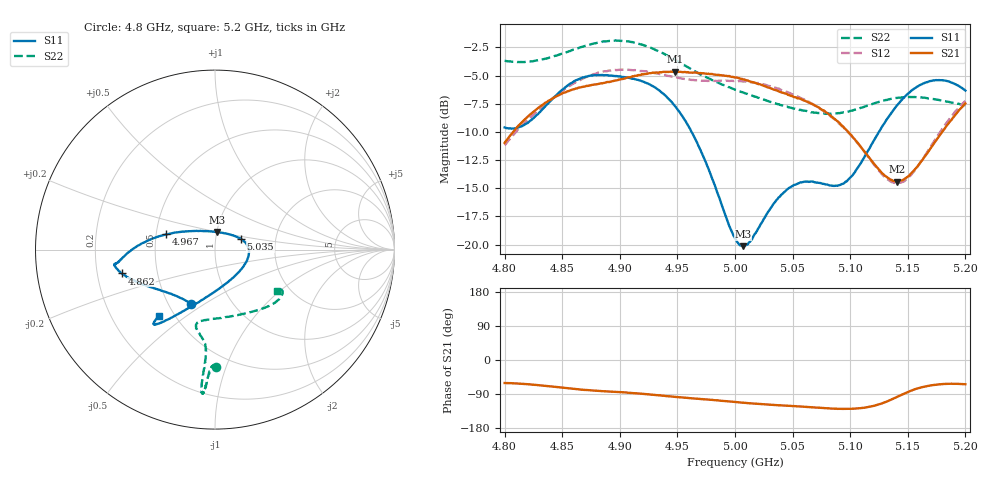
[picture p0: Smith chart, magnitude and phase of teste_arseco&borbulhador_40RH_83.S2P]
! Network Analyzer HP8722D
! Hewlett-Packard
! Data name: Linha & Wilkinson
! Saver's name: Rodrigo Anjos
! Comments: Teste da utilização de aquisição
! continua pelo VNA HP8722D
! Time and date: 15/4/2025 17:02
!  Frequency  S11  S21  S12  S22
# HZ  S  MA R 50
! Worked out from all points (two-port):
!   401 points, 4.8 GHz to 5.2 GHz, reference 50 ohm
!   highest |S21| = -4.65 dB at 4.948 GHz (marker M1); lowest = -14.4 dB at 5.141 GHz (marker M2)
!   |S21| within 3 dB of the highest: 4.832 GHz to 5.069 GHz (237.1 MHz wide, 4.79 % of centre); 5.198313 GHz to end of sweep
!   lowest |S11| = -20.1 dB at 5.007 GHz (marker M3), VSWR 1.22, Z = 50.2 + j9.9 ohm
!   |S11| at or under -10 dB: 4.962 GHz to 5.125 GHz (162.6 MHz wide, 3.22 % of centre)
!   |S22| runs from -8.4 to -1.9 dB; largest |S21 - S12| = 0.88
!   S11 on the Smith chart (normalised r, x): 4.8 GHz: 0.65, -0.44; 4.862 GHz: 0.31, -0.11; 4.967 GHz: 0.57, +0.10; 5.035 GHz: 1.32, +0.16; 5.2 GHz: 0.41, -0.40
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4.8e9  0.3309 -113.8  0.2826 -60.8  0.276 -175.0  0.6543 -89.4
4.819e9  0.3446 -133.6  0.3652 -63.7  0.353 -173.3  0.6479 -91.1
4.862e9  0.5359 -165.7  0.4935 -76.7  0.5273 -176.4  0.7403 -93.5
4.867e9  0.5491 -167.5  0.5004 -78.1  0.5422 -177.4  0.7545 -93.7
4.898e9  0.5585 -172.0  0.5365 -84.4  0.5958 176.2  0.8036 -94.9
4.934e9  0.4845 -178.1  0.5805 -93.2  0.5729 172.0  0.7194 -95.5
4.948e9  0.4114 175.3  0.5858 -97.2  0.5545 172.1  0.6599 -95.1
4.967e9  0.2841 162.6  0.5789 -102.2  0.5359 174.2  0.5815 -95.0
5e9  0.1069 106.9  0.5512 -110.9  0.5332 176.4  0.4872 -99.2
5.007e9  0.09832 83.0  0.5408 -112.6  0.5288 176.4  0.4732 -100.8
5.013e9  0.1029 64.0  0.5298 -114.3  0.5265 176.2  0.4611 -102.1
5.035e9  0.1549 22.8  0.4854 -119.0  0.4969 175.0  0.4232 -103.9
5.05e9  0.1821 7.1  0.4563 -121.6  0.4641 174.4  0.4029 -100.2
5.067e9  0.1904 -11.4  0.4207 -124.8  0.4212 174.0  0.3862 -91.9
5.087e9  0.1824 -43.9  0.3591 -128.6  0.3585 173.7  0.382 -76.9
5.097e9  0.1906 -65.1  0.3211 -129.1  0.3206 174.4  0.3888 -68.5
5.134e9  0.373 -116.1  0.1956 -106.8  0.1921 -159.5  0.4419 -43.3
5.141e9  0.4167 -120.0  0.1904 -96.9  0.1872 -148.7  0.4478 -40.2
5.154e9  0.4864 -125.1  0.2093 -79.8  0.2075 -128.8  0.4516 -35.6
5.17e9  0.5324 -128.5  0.2682 -66.9  0.2729 -113.0  0.4444 -32.1
5.184e9  0.5319 -129.9  0.3385 -63.0  0.3493 -107.1  0.4311 -31.1
5.2e9  0.4824 -130.3  0.4232 -63.9  0.4344 -106.0  0.4153 -33.4
